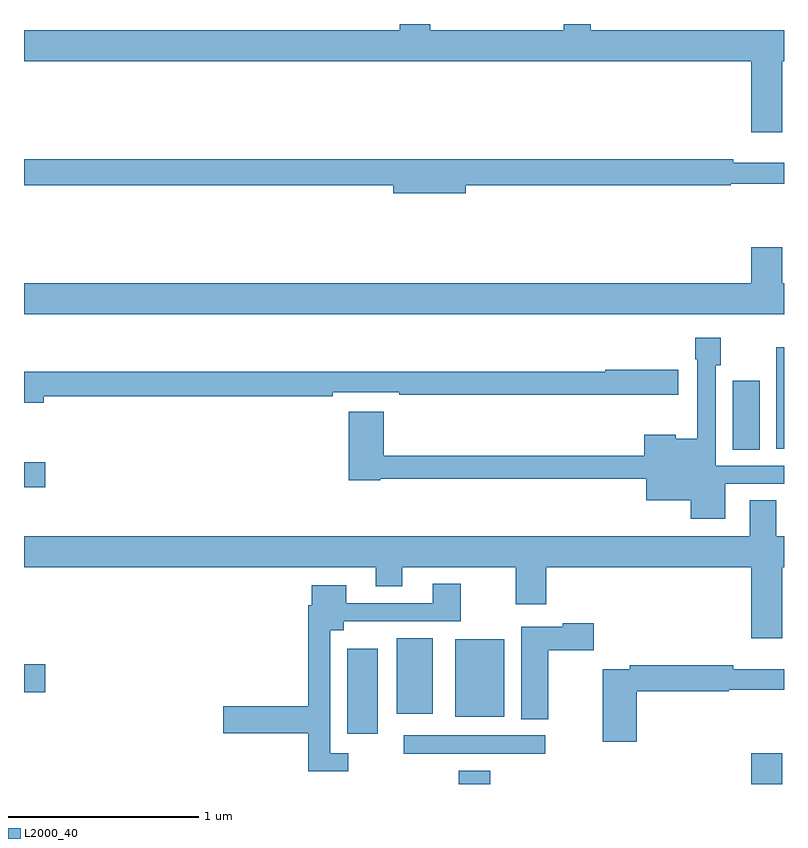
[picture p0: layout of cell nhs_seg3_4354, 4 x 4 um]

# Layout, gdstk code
import gdstk
lib = gdstk.Library(unit=1e-6, precision=1e-09)
def R(c, l, rs):  # rectangles x0, y0, x1, y1
    for r in rs: c.add(gdstk.rectangle(r[:2], r[2:], *l))
def P(c, l, *ps):  # polygons
    for p in ps: c.add(gdstk.Polygon(p, *l))
L2000_40 = (2000, 40)

nhs_seg3_4354 = lib.new_cell('nhs_seg3_4354')
R(nhs_seg3_4354, L2000_40, [(343.289,742.4,343.454,742.471), (344.828,742.4,344.992,742.561), (342.999,742.56,343.744,742.656), (342.701,742.665,342.862,743.113), (343.271,742.754,343.528,743.161), (342.962,742.769,343.15,743.167), (341,742.883,341.113,743.03), (341,743.963,341.113,744.093), (344.729,744.16,344.872,744.523), (344.96,744.164,345,744.7)])
P(nhs_seg3_4354, L2000_40, [(344.992,746.204),(345,746.204),(345,746.368),(343.982,746.368),(343.982,746.4),(343.841,746.4),(343.841,746.368),(343.137,746.368),(343.137,746.4),(342.977,746.4),(342.977,746.368),(341,746.368),(341,746.204),(344.828,746.204),(344.828,745.83),(344.992,745.83)],
  [(343.324,745.552),(344.72,745.552),(344.72,745.56),(345,745.56),(345,745.669),(344.732,745.669),(344.732,745.688),(341,745.688),(341,745.552),(342.944,745.552),(342.944,745.51),(343.324,745.51)],
  [(345,745.036),(344.992,745.036),(344.992,745.225),(344.828,745.225),(344.828,745.036),(341,745.036),(341,744.872),(345,744.872)],
  [(344.692,743.979),(345,743.979),(345,744.075),(344.64,744.075),(344.64,744.603),(344.667,744.603),(344.667,744.748),(344.532,744.748),(344.532,744.635),(344.544,744.635),(344.544,744.217),(344.43,744.217),(344.43,744.238),(344.264,744.238),(344.264,744.127),(342.893,744.127),(342.893,744.358),(342.71,744.358),(342.71,743.998),(342.876,743.998),(342.876,744.006),(344.276,744.006),(344.276,743.894),(344.51,743.894),(344.51,743.795),(344.692,743.795)],
  [(341.104,744.442),(342.626,744.442),(342.626,744.462),(342.976,744.462),(342.976,744.45),(344.158,744.45),(344.158,744.449),(344.443,744.449),(344.443,744.579),(344.058,744.579),(344.058,744.571),(341,744.571),(341,744.407),(341.104,744.407)],
  [(344.992,743.54),(345,743.54),(345,743.704),(344.959,743.704),(344.959,743.894),(344.819,743.894),(344.819,743.704),(341,743.704),(341,743.54),(342.851,743.54),(342.851,743.441),(342.991,743.441),(342.991,743.54),(343.588,743.54),(343.588,743.346),(343.748,743.346),(343.748,743.54),(344.828,743.54),(344.828,743.166),(344.992,743.166)],
  [(342.706,742.563),(342.612,742.563),(342.612,743.21),(342.682,743.21),(342.682,743.256),(343.299,743.256),(343.299,743.455),(343.151,743.455),(343.151,743.352),(342.697,743.352),(342.697,743.446),(342.515,743.446),(342.515,743.342),(342.496,743.342),(342.496,742.808),(342.048,742.808),(342.048,742.666),(342.496,742.666),(342.496,742.467),(342.706,742.467)],
  [(343.758,743.105),(343.999,743.105),(343.999,743.247),(343.836,743.247),(343.836,743.227),(343.616,743.227),(343.616,742.741),(343.758,742.741)],
  [(344.225,742.888),(344.708,742.888),(344.708,742.896),(345,742.896),(345,743.005),(344.732,743.005),(344.732,743.024),(344.188,743.024),(344.188,743.004),(344.047,743.004),(344.047,742.623),(344.225,742.623)])

lib.write_gds('nhs_seg3_4354.gds')
